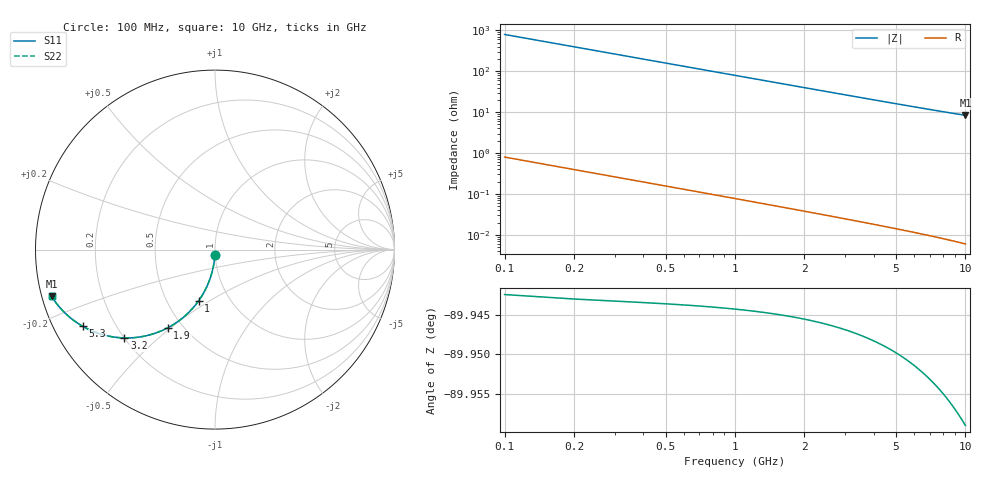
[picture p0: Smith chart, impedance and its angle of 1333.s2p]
# Hz S RI R 50.00
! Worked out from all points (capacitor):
!   100 points, 100 MHz to 10 GHz, reference 50 ohm
!   read as one part in shunt: C = 2 pF near 100 MHz
!   lowest |Z| = 8.37 ohm at 10 GHz (marker M1)
!   S11 on the Smith chart (normalised r, x): 100 MHz: 1.00, -0.06; 1 GHz: 0.72, -0.45; 1.9 GHz: 0.41, -0.49; 3.2 GHz: 0.20, -0.39; 5.3 GHz: 0.09, -0.27; 10 GHz: 0.03, -0.14
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1e8  -0.000933 -0.0312  0.9989 -0.0317  0.9989 -0.0317  -0.000933 -0.0312
2e8  -0.00392 -0.0622  0.9959 -0.0631  0.9959 -0.0631  -0.00392 -0.0622
3e8  -0.00884 -0.0929  0.991 -0.0943  0.991 -0.0943  -0.00884 -0.0929
4e8  -0.0156 -0.123  0.9842 -0.1248  0.9842 -0.1248  -0.0156 -0.123
5e8  -0.0242 -0.1524  0.9756 -0.1547  0.9756 -0.1547  -0.0242 -0.1524
6e8  -0.0345 -0.1809  0.9653 -0.1837  0.9653 -0.1837  -0.0345 -0.1809
7e8  -0.0464 -0.2085  0.9534 -0.2116  0.9534 -0.2116  -0.0464 -0.2085
8e8  -0.0598 -0.2349  0.9401 -0.2385  0.9401 -0.2385  -0.0598 -0.2349
1e9  -0.0903 -0.284  0.9095 -0.2885  0.9095 -0.2885  -0.0903 -0.284
1.2e9  -0.125 -0.3277  0.8748 -0.3331  0.8748 -0.3331  -0.125 -0.3277
1.4e9  -0.1628 -0.3656  0.837 -0.372  0.837 -0.372  -0.1628 -0.3656
1.8e9  -0.2433 -0.4245  0.7565 -0.4327  0.7565 -0.4327  -0.2433 -0.4245
1.9e9  -0.2637 -0.4359  0.736 -0.4445  0.736 -0.4445  -0.2637 -0.4359
2.5e9  -0.3829 -0.4799  0.6169 -0.4913  0.6169 -0.4913  -0.3829 -0.4799
3.2e9  -0.5043 -0.4922  0.4954 -0.5068  0.4954 -0.5068  -0.5043 -0.4922
3.4e9  -0.5347 -0.4905  0.465 -0.506  0.465 -0.506  -0.5347 -0.4905
4.2e9  -0.6372 -0.4706  0.3624 -0.4898  0.3624 -0.4898  -0.6372 -0.4706
5.1e9  -0.7219 -0.4357  0.2776 -0.4591  0.2776 -0.4591  -0.7219 -0.4357
5.3e9  -0.7372 -0.4273  0.2623 -0.4517  0.2623 -0.4517  -0.7372 -0.4273
6.7e9  -0.8184 -0.3692  0.1809 -0.4002  0.1809 -0.4002  -0.8184 -0.3692
8.4e9  -0.8772 -0.3074  0.1218 -0.3468  0.1218 -0.3468  -0.8772 -0.3074
1e10  -0.9108 -0.2598  0.0878 -0.3071  0.0878 -0.3071  -0.9108 -0.2598
